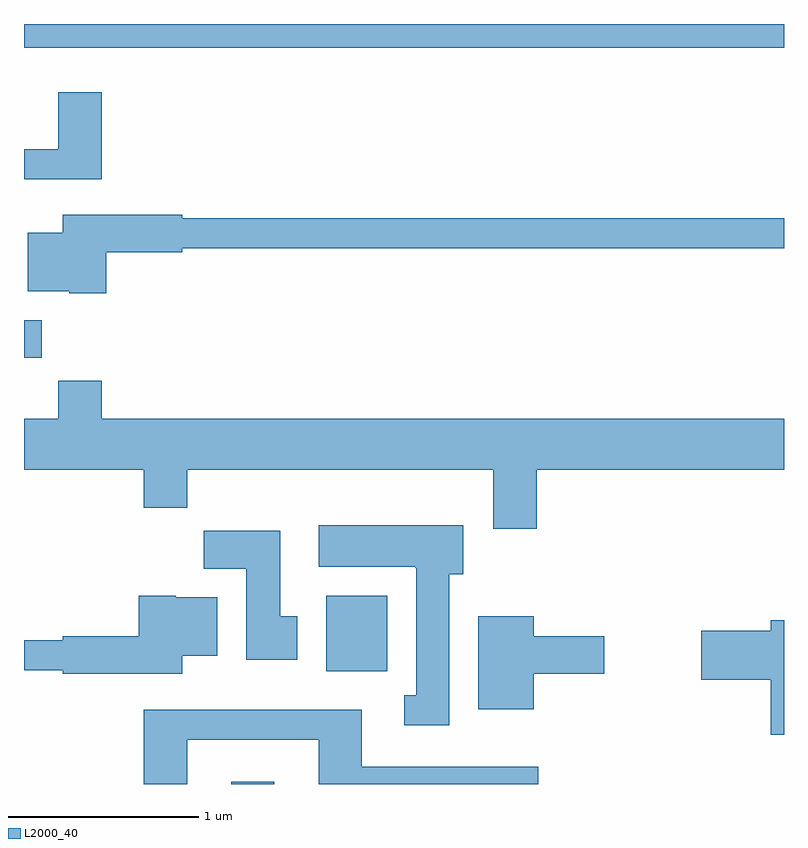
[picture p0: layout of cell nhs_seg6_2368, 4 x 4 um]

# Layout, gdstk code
import gdstk
lib = gdstk.Library(unit=1e-6, precision=1e-09)
def R(c, l, rs):  # rectangles x0, y0, x1, y1
    for r in rs: c.add(gdstk.rectangle(r[:2], r[2:], *l))
def P(c, l, *ps):  # polygons
    for p in ps: c.add(gdstk.Polygon(p, *l))
L2000_40 = (2000, 40)

nhs_seg6_2368 = lib.new_cell('nhs_seg6_2368')
R(nhs_seg6_2368, L2000_40, [(258.701,1546.162,258.929,1546.174), (259.201,1546.756,259.524,1547.154), (257.611,1548.406,257.704,1548.604), (257.611,1550.036,261.611,1550.162)])
P(nhs_seg6_2368, L2000_40, [(258.019,1549.804),(257.791,1549.804),(257.791,1549.504),(257.611,1549.504),(257.611,1549.346),(258.019,1549.346)],
  [(258.044,1548.961),(258.444,1548.961),(258.444,1548.981),(261.611,1548.981),(261.611,1549.139),(258.444,1549.139),(258.444,1549.159),(257.816,1549.159),(257.816,1549.064),(257.631,1549.064),(257.631,1548.756),(257.85,1548.756),(257.85,1548.746),(258.044,1548.746)],
  [(260.309,1547.816),(261.611,1547.816),(261.611,1548.084),(258.019,1548.084),(258.019,1548.284),(257.791,1548.284),(257.791,1548.084),(257.611,1548.084),(257.611,1547.816),(258.241,1547.816),(258.241,1547.616),(258.469,1547.616),(258.469,1547.816),(260.081,1547.816),(260.081,1547.506),(260.309,1547.506)],
  [(259.849,1547.266),(259.924,1547.266),(259.924,1547.524),(259.161,1547.524),(259.161,1547.306),(259.67,1547.306),(259.67,1547.3),(259.676,1547.3),(259.676,1546.629),(259.613,1546.629),(259.613,1546.471),(259.849,1546.471)],
  [(259.049,1547.044),(258.959,1547.044),(258.959,1547.494),(258.556,1547.494),(258.556,1547.296),(258.781,1547.296),(258.781,1546.816),(259.049,1546.816)],
  [(258.444,1546.836),(258.629,1546.836),(258.629,1547.144),(258.41,1547.144),(258.41,1547.154),(258.216,1547.154),(258.216,1546.939),(257.816,1546.939),(257.816,1546.919),(257.611,1546.919),(257.611,1546.761),(257.816,1546.761),(257.816,1546.741),(258.444,1546.741)],
  [(260.294,1546.741),(260.664,1546.741),(260.664,1546.939),(260.294,1546.939),(260.294,1547.044),(260.001,1547.044),(260.001,1546.556),(260.294,1546.556)],
  [(261.611,1547.024),(261.541,1547.024),(261.541,1546.969),(261.176,1546.969),(261.176,1546.711),(261.541,1546.711),(261.541,1546.421),(261.611,1546.421)],
  [(258.469,1546.396),(259.161,1546.396),(259.161,1546.162),(260.318,1546.162),(260.318,1546.254),(259.389,1546.254),(259.389,1546.554),(258.241,1546.554),(258.241,1546.162),(258.469,1546.162)])

lib.write_gds('nhs_seg6_2368.gds')
